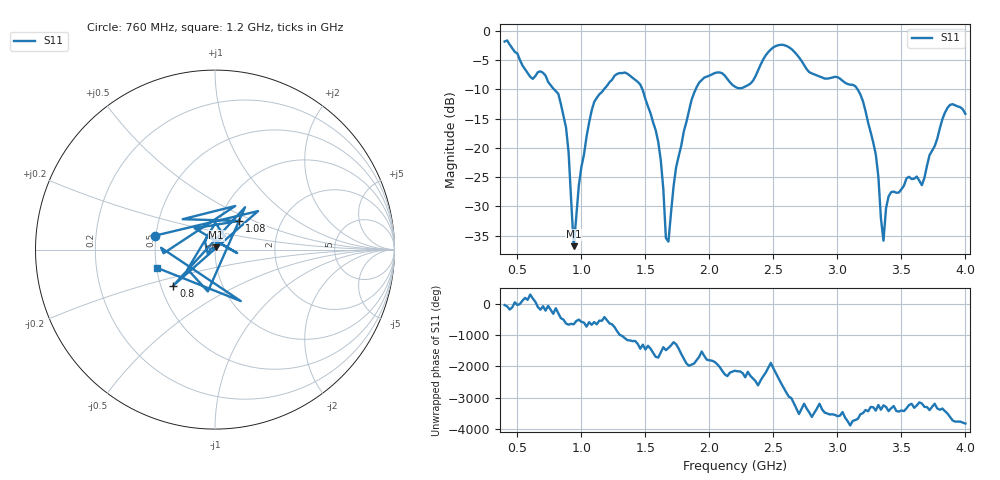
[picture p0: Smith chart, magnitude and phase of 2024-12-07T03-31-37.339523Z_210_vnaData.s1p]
!Created with skrf (http://scikit-rf.org).
# Hz S RI R 50.0
!freq ReS11 ImS11
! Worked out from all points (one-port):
!   181 points, 400 MHz to 4 GHz, reference 50 ohm
!   lowest |S11| = -36.8 dB at 940 MHz (marker M1), VSWR 1.03, Z = 50.6 + j1.34 ohm
!   |S11| at or under -10 dB: 787.1 MHz to 1.176 GHz (388.5 MHz wide, 39.6 % of centre); 1.477 GHz to 1.892 GHz (415.4 MHz wide, 24.7 % of centre); 3.158 GHz to end of sweep
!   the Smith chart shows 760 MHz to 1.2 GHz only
!   S11 on the Smith chart (normalised r, x): 760 MHz: 0.49, +0.09; 800 MHz: 0.58, -0.26; 1.08 GHz: 1.23, +0.41; 1.2 GHz: 0.50, -0.11
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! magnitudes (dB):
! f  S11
! 400 MHz  -1.8
! 760 MHz  -9.3
! 800 MHz  -10.3
! 860 MHz  -14.5
! 900 MHz  -20.8
! 940 MHz  -36.8
! 980 MHz  -26.4
! 1.08 GHz  -13.6
! 1.2 GHz  -9.4
! 1.3 GHz  -7.2
! 1.46 GHz  -9.2
! 1.58 GHz  -16.9
! 1.62 GHz  -22.1
! 1.66 GHz  -35.4
! 1.68 GHz  -36.0
! 1.76 GHz  -21.4
! 1.92 GHz  -8.8
! 2.2 GHz  -9.5
! 2.66 GHz  -3.5
! 3.1 GHz  -9.2
! 3.2 GHz  -12.0
! 3.3 GHz  -21.1
! 3.36 GHz  -35.9
! 3.4 GHz  -28.3
! 3.56 GHz  -24.9
! 3.66 GHz  -26.4
! 3.88 GHz  -12.6
! 4 GHz  -14.2
